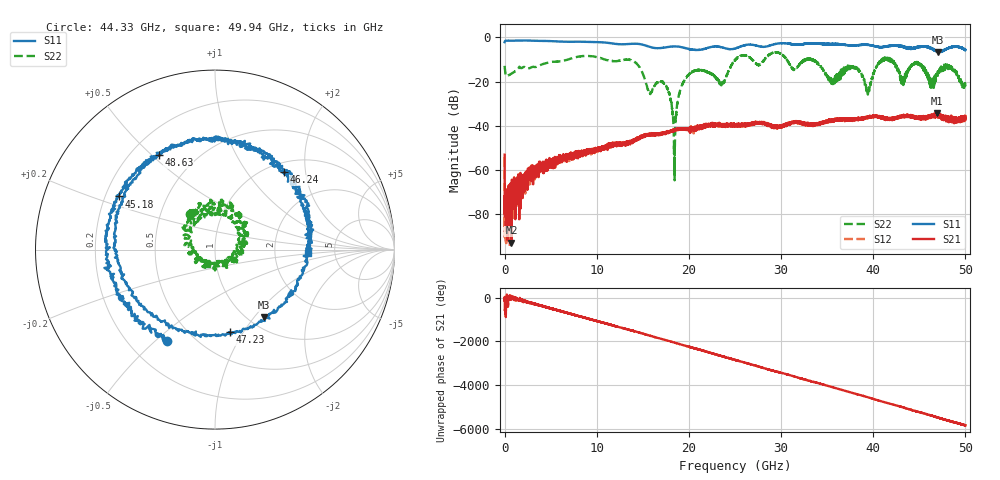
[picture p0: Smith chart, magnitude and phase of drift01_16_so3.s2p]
!Created with skrf (http://scikit-rf.org).
# Hz S RI R 50.0
!freq ReS11 ImS11 ReS21 ImS21 ReS12 ImS12 ReS22 ImS22
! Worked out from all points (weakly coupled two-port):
!   10001 points, 300 kHz to 50 GHz, reference 50 ohm
!   highest |S21| = -34.28 dB at 46.9 GHz (marker M1); lowest = -92.8 dB at 745.3 MHz (marker M2)
!   lowest |S11| = -6.6 dB at 47.04 GHz (marker M3), VSWR 2.75, Z = 58.4 - j56.3 ohm
!   |S11| at or under -10 dB: nowhere
!   |S22| runs from -64.6 to -6.6 dB; largest |S21 - S12| = 0.0039
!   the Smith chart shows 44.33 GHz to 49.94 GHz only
!   S11 on the Smith chart (normalised r, x): 44.33 GHz: 0.36, -0.55; 45.18 GHz: 0.25, +0.24; 46.24 GHz: 1.18, +1.53; 47.23 GHz: 0.74, -0.87; 48.63 GHz: 0.31, +0.53; 49.94 GHz: 3.15, -0.15
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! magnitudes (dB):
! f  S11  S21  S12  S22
! 300 kHz  -2.1  -53.0  -54.4  -12.9
! 255.3 MHz  -1.4  -73.6  -71.1  -17.5
! 745.3 MHz  -1.5  -92.8  -73.3  -16.3
! 8.335 GHz  -2.0  -52.8  -51.6  -8.5
! 16.67 GHz  -4.8  -43.3  -43.6  -19.9
! 17.74 GHz  -4.4  -43.0  -42.7  -23.6
! 18.43 GHz  -4.1  -42.4  -41.9  -57.1
! 19.89 GHz  -5.1  -41.6  -41.2  -17.1
! 23.6 GHz  -4.5  -39.2  -39.4  -20.6
! 25 GHz  -5.0  -40.0  -39.6  -10.4
! 33.34 GHz  -2.6  -39.4  -39.5  -10.0
! 39.37 GHz  -3.4  -36.0  -36.4  -23.4
! 41.67 GHz  -3.9  -36.6  -36.9  -9.7
! 44.33 GHz  -4.8  -36.1  -35.9  -12.3
! 45.18 GHz  -4.3  -36.5  -36.4  -12.4
! 46.24 GHz  -4.8  -36.0  -36.0  -21.7
! 46.9 GHz  -6.4  -34.3  -35.2  -17.9
! 47.04 GHz  -6.6  -35.1  -34.9  -15.5
! 47.23 GHz  -6.6  -35.2  -35.6  -15.0
! 48.63 GHz  -4.2  -36.8  -37.0  -14.6
! 49.94 GHz  -5.7  -36.4  -36.5  -20.6
! 50 GHz  -5.6  -35.5  -35.8  -21.9
